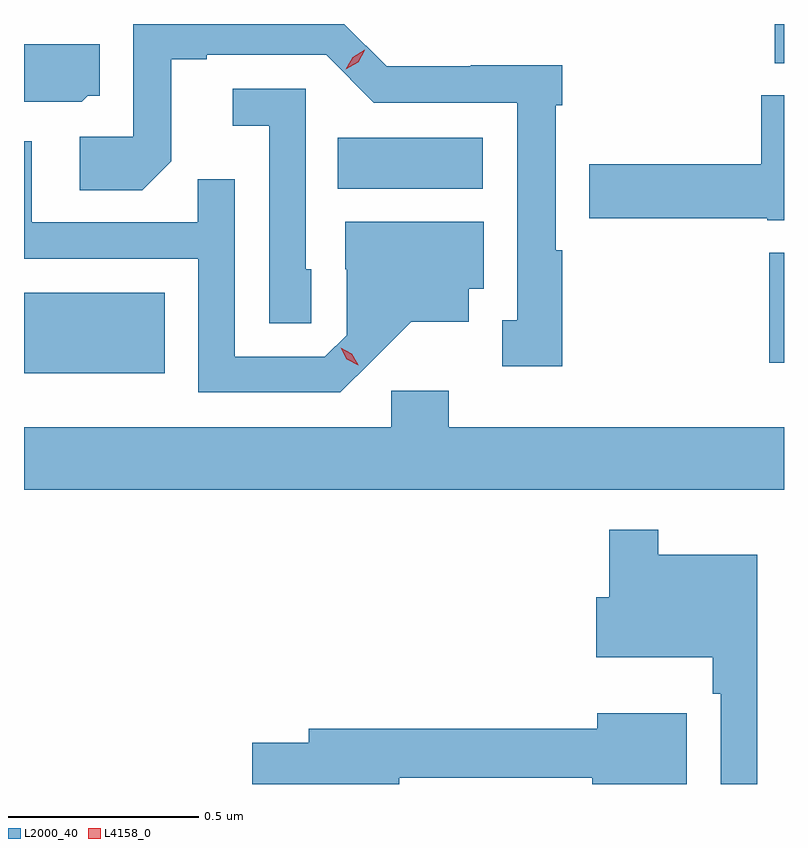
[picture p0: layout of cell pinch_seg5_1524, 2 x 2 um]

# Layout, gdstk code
import gdstk
lib = gdstk.Library(unit=1e-6, precision=1e-09)
def R(c, l, rs):  # rectangles x0, y0, x1, y1
    for r in rs: c.add(gdstk.rectangle(r[:2], r[2:], *l))
def P(c, l, *ps):  # polygons
    for p in ps: c.add(gdstk.Polygon(p, *l))
L2000_40 = (2000, 40)
L4158_0 = (4158, 0)

pinch_seg5_1524 = lib.new_cell('pinch_seg5_1524')
R(pinch_seg5_1524, L2000_40, [(121.224,890.366,121.594,890.578), (123.185,890.394,123.224,890.683), (122.05,890.852,122.431,890.986), (123.199,891.182,123.224,891.285)])
P(pinch_seg5_1524, L2000_40, [(122.641,890.69),(122.623,890.69),(122.623,891.071),(122.641,891.071),(122.641,891.176),(122.4,891.176),(122.4,891.174),(122.178,891.174),(122.067,891.285),(121.512,891.285),(121.512,890.988),(121.371,890.988),(121.371,890.848),(121.535,890.848),(121.611,890.924),(121.611,891.192),(121.705,891.192),(121.705,891.204),(122.019,891.204),(122.145,891.078),(122.522,891.078),(122.522,890.505),(122.483,890.505),(122.483,890.385),(122.641,890.385)],
  [(121.392,891.096),(121.423,891.096),(121.423,891.232),(121.224,891.232),(121.224,891.081),(121.242,891.081),(121.242,891.08),(121.376,891.08)],
  [(121.98,890.64),(121.965,890.64),(121.965,891.114),(121.773,891.114),(121.773,891.017),(121.869,891.017),(121.869,890.497),(121.98,890.497)],
  [(123.224,891.097),(123.164,891.097),(123.164,890.916),(122.712,890.916),(122.712,890.774),(123.18,890.774),(123.18,890.768),(123.224,890.768)],
  [(122.14,890.399),(122.243,890.501),(122.395,890.501),(122.395,890.588),(122.434,890.588),(122.434,890.764),(122.069,890.764),(122.069,890.64),(122.073,890.64),(122.073,890.466),(122.016,890.409),(121.779,890.409),(121.779,890.876),(121.681,890.876),(121.681,890.763),(121.245,890.763),(121.245,890.977),(121.224,890.977),(121.224,890.667),(121.683,890.667),(121.683,890.316),(122.056,890.316)],
  [(123.224,890.224),(122.342,890.224),(122.342,890.32),(122.19,890.32),(122.19,890.224),(121.224,890.224),(121.224,890.06),(123.224,890.06)],
  [(123.154,889.888),(122.893,889.888),(122.893,889.954),(122.764,889.954),(122.764,889.777),(122.73,889.777),(122.73,889.619),(123.037,889.619),(123.037,889.523),(123.057,889.523),(123.057,889.285),(123.154,889.285)],
  [(122.212,889.302),(122.72,889.302),(122.72,889.285),(122.968,889.285),(122.968,889.471),(122.732,889.471),(122.732,889.43),(121.973,889.43),(121.973,889.394),(121.824,889.394),(121.824,889.285),(122.212,889.285)])
P(pinch_seg5_1524, L4158_0, [(122.071,891.166),(122.071,891.166),(122.089,891.198),(122.121,891.217),(122.121,891.217),(122.121,891.216),(122.103,891.184),(122.071,891.166)],
  [(122.104,890.387),(122.073,890.403),(122.057,890.433),(122.057,890.433),(122.057,890.433),(122.087,890.417),(122.104,890.388),(122.104,890.387)])

lib.write_gds('pinch_seg5_1524.gds')
